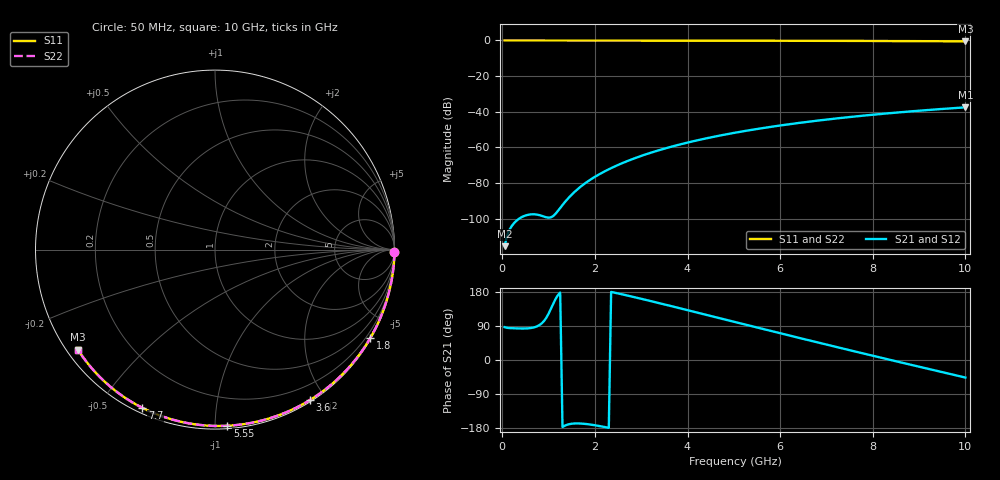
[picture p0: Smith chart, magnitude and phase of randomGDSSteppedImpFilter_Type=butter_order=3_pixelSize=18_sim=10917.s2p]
! freq	dB(S11)	phase(S11)	dB(S12)	phase(S12)
!  dB(S21)	phase(S21)	dB(S22)	phase(S22)
!S-par simulation data
#  GHz  S  DB  R 50
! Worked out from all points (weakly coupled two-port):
!   200 points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, 50 MHz to 10 GHz, reference 50 ohm
!   highest |S21| = -37.49 dB at 10 GHz (marker M1); lowest = -115.3 dB at 50 MHz (marker M2)
!   lowest |S11| = -0.5 dB at 10 GHz (marker M3), VSWR 35.68, Z = 1.55 - j16.3 ohm
!   |S11| at or under -10 dB: nowhere
!   |S22| runs from -0.5 to 0.0 dB; largest |S21 - S12| = 0
!   S11 on the Smith chart (normalised r, x): 50 MHz: open; 1.8 GHz: 0.03, -3.78; 3.6 GHz: 0.02, -1.81; 5.55 GHz: 0.02, -1.07; 7.7 GHz: 0.02, -0.64; 10 GHz: 0.03, -0.33
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0.05  -0.00 -0.8  -115.31 86.7  -115.31 86.7  -0.00 -0.8
0.45  -0.01 -7.5  -98.63 83.1  -98.63 83.1  -0.01 -7.5
0.9  -0.02 -14.9  -98.72 102.8  -98.72 102.8  -0.02 -14.9
1.3  -0.03 -21.5  -92.23 -176.9  -92.23 -176.9  -0.03 -21.5
1.75  -0.04 -28.8  -80.80 -168.2  -80.80 -168.2  -0.04 -28.8
1.8  -0.04 -29.6  -79.85 -168.8  -79.85 -168.8  -0.04 -29.6
1.95  -0.04 -32.0  -77.24 -171.2  -77.24 -171.2  -0.04 -32.0
2.1  -0.04 -34.4  -74.93 -174.3  -74.93 -174.3  -0.04 -34.4
2.3  -0.05 -37.6  -72.20 -179.1  -72.20 -179.1  -0.05 -37.6
2.5  -0.05 -40.8  -69.78 175.7  -69.78 175.7  -0.05 -40.8
2.9  -0.06 -47.0  -65.64 164.5  -65.64 164.5  -0.06 -47.0
3.4  -0.07 -54.7  -61.39 149.7  -61.39 149.7  -0.07 -54.7
3.6  -0.08 -57.7  -59.91 143.7  -59.91 143.7  -0.08 -57.7
4.3  -0.10 -68.2  -55.46 122.4  -55.46 122.4  -0.10 -68.2
5.05  -0.12 -79.0  -51.60 99.5  -51.60 99.5  -0.12 -79.0
5.55  -0.14 -86.0  -49.42 84.3  -49.42 84.3  -0.14 -86.0
6.1  -0.17 -93.6  -47.30 67.6  -47.30 67.6  -0.17 -93.6
6.7  -0.20 -101.6  -45.27 49.6  -45.27 49.6  -0.20 -101.6
7.7  -0.26 -114.7  -42.39 20.0  -42.39 20.0  -0.26 -114.7
8.35  -0.32 -123.0  -40.80 1.1  -40.80 1.1  -0.32 -123.0
9.2  -0.40 -133.8  -38.97 -23.5  -38.97 -23.5  -0.40 -133.8
10  -0.49 -143.9  -37.49 -46.3  -37.49 -46.3  -0.49 -143.9
